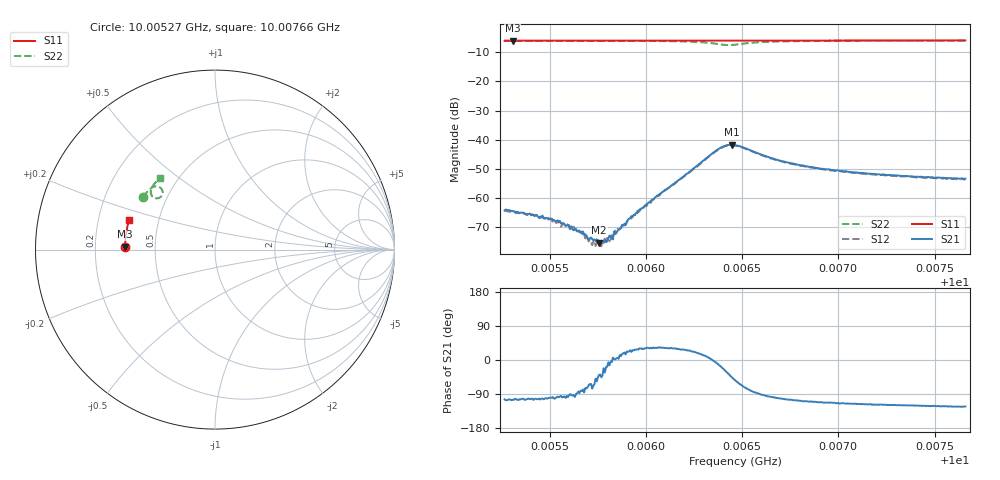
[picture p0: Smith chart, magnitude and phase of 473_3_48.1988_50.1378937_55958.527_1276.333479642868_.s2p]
#  HZ  S  RI  R  50.00
! Rohde & Schwarz Vector Network Analyzer
! Rohde-Schwarz,ZNB20-2Port,1311601062101988,3.16
! Created: UTC 3/20/2024, 11:57:15 AM
! freq[Hz]  re:S11  im:S11  re:S21  im:S21  re:S12  im:S12  re:S22  im:S22
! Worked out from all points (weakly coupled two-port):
!   401 points, 10.00527 GHz to 10.00766 GHz, reference 50 ohm
!   highest |S21| = -41.70 dB at 10.00645 GHz (marker M1); lowest = -75.3 dB at 10.00576 GHz (marker M2)
!   lowest |S11| = -6.0 dB at 10.00531 GHz (marker M3), VSWR 3.01, Z = 16.6 + j0.747 ohm
!   |S11| at or under -10 dB: nowhere
!   |S22| runs from -7.5 to -6.0 dB; largest |S21 - S12| = 0.0005
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1.0005267e10  -0.5006 0.0142  -0.000146 -0.000593  -0.00012 -0.00061  -0.3997 0.2928
1.0005308e10  -0.5004 0.0168  -0.000151 -0.000575  -0.000119 -0.000559  -0.3981 0.2955
1.0005422e10  -0.5006 0.0244  -0.000107 -0.00048  -8.83e-05 -0.000505  -0.3935 0.3021
1.00055e10  -0.5004 0.0295  -7.42e-05 -0.000429  -4.01e-05 -0.000446  -0.39 0.3067
1.0005548e10  -0.5003 0.0326  -5.62e-05 -0.000389  -1.18e-05 -0.000391  -0.3878 0.3097
1.0005584e10  -0.5003 0.0348  -5.74e-05 -0.000325  -2.39e-05 -0.000341  -0.3862 0.3117
1.0005668e10  -0.5001 0.0404  3.41e-05 -0.00025  1.92e-05 -0.000264  -0.3823 0.3168
1.0005709e10  -0.4998 0.0431  8.9e-05 -0.000182  9.8e-05 -0.000169  -0.3801 0.3195
1.0005757e10  -0.4996 0.0461  0.000133 -0.00011  0.000137 -9.13e-05  -0.3777 0.3224
1.0005769e10  -0.4997 0.047  0.000122 -0.000125  0.000119 -9.01e-05  -0.3771 0.3232
1.0005787e10  -0.4996 0.0482  0.000159 -0.000104  0.000194 -5.35e-05  -0.3759 0.3245
1.0005817e10  -0.4995 0.0501  0.00021 -1.55e-05  0.000194 -2.26e-06  -0.3744 0.3262
1.0005829e10  -0.4994 0.0509  0.000194 2.1e-05  0.000223 -5.33e-06  -0.3734 0.3269
1.0005913e10  -0.499 0.0563  0.000408 0.000169  0.000371 0.000186  -0.3682 0.3325
1.0006068e10  -0.4979 0.0663  0.00095 0.000625  0.00091 0.000599  -0.3556 0.343
1.0006374e10  -0.495 0.0858  0.0067 -0.00123  0.0066 -0.000882  -0.2928 0.3278
1.0006446e10  -0.4941 0.0901  0.00583 -0.0058  0.00602 -0.00538  -0.3077 0.2898
1.0006463e10  -0.4942 0.0909  0.00487 -0.00647  0.00511 -0.00608  -0.3179 0.286
1.0006691e10  -0.4924 0.1056  -0.000842 -0.00435  -0.000645 -0.00435  -0.3575 0.3295
1.0006864e10  -0.4902 0.1168  -0.00117 -0.0032  -0.00096 -0.00318  -0.3499 0.3498
1.0007265e10  -0.4844 0.142  -0.0012 -0.00218  -0.00106 -0.00218  -0.3291 0.3767
1.000766e10  -0.4775 0.1665  -0.00116 -0.00181  -0.00109 -0.00177  -0.3088 0.3965
